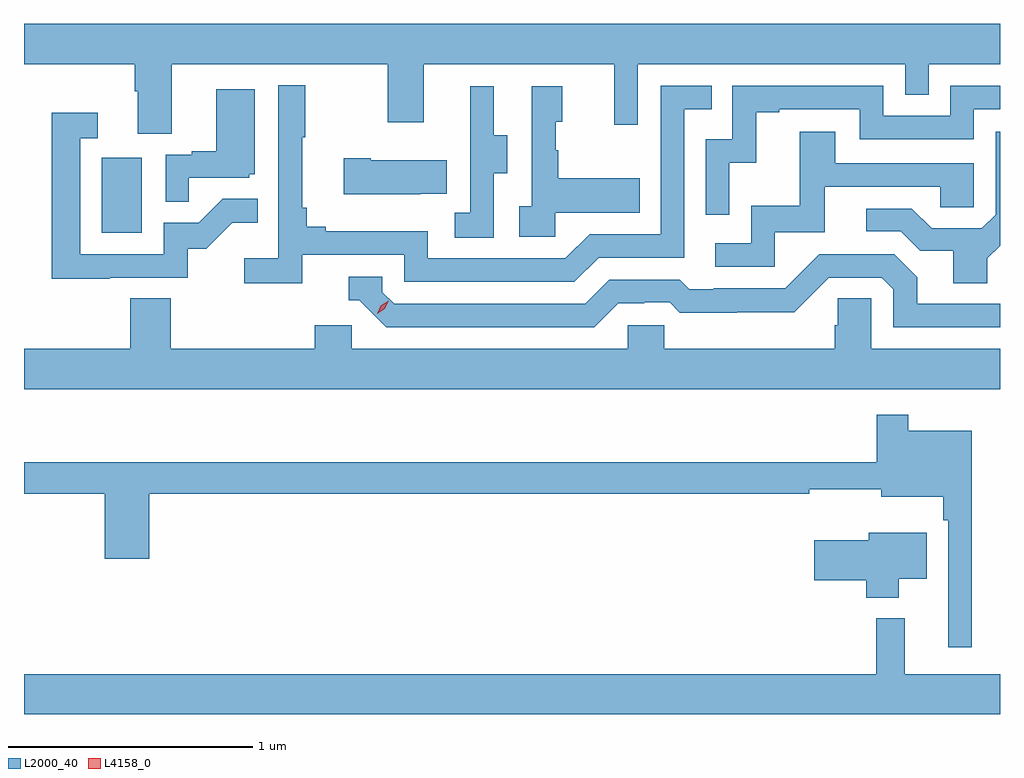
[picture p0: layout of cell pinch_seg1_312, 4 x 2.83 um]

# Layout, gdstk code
import gdstk
lib = gdstk.Library(unit=1e-6, precision=1e-09)
def R(c, l, rs):  # rectangles x0, y0, x1, y1
    for r in rs: c.add(gdstk.rectangle(r[:2], r[2:], *l))
def P(c, l, *ps):  # polygons
    for p in ps: c.add(gdstk.Polygon(p, *l))
L2000_40 = (2000, 40)
L4158_0 = (4158, 0)

pinch_seg1_312 = lib.new_cell('pinch_seg1_312')
R(pinch_seg1_312, L2000_40, [(1008.698,557.7,1008.862,558.007)])
P(pinch_seg1_312, L2000_40, [(1008.985,558.392),(1009.87,558.392),(1009.87,558.153),(1010.017,558.153),(1010.017,558.392),(1010.798,558.392),(1010.798,558.144),(1010.895,558.144),(1010.895,558.392),(1011.99,558.392),(1011.99,558.265),(1012.086,558.265),(1012.086,558.392),(1012.379,558.392),(1012.379,558.556),(1008.379,558.556),(1008.379,558.392),(1008.833,558.392),(1008.833,558.28),(1008.845,558.28),(1008.845,558.106),(1008.985,558.106)],
  [(1009.52,557.61),(1009.938,557.61),(1009.938,557.499),(1010.635,557.499),(1010.734,557.598),(1011.084,557.598),(1011.084,558.207),(1011.197,558.207),(1011.197,558.303),(1010.988,558.303),(1010.988,557.694),(1010.697,557.694),(1010.598,557.595),(1010.034,557.595),(1010.034,557.707),(1009.615,557.707),(1009.615,557.726),(1009.538,557.726),(1009.538,557.803),(1009.519,557.803),(1009.519,558.091),(1009.531,558.091),(1009.531,558.304),(1009.422,558.304),(1009.422,557.596),(1009.281,557.596),(1009.281,557.494),(1009.52,557.494)],
  [(1011.27,557.987),(1011.38,557.987),(1011.38,558.195),(1011.475,558.195),(1011.475,558.207),(1011.804,558.207),(1011.804,558.084),(1012.272,558.084),(1012.272,558.207),(1012.379,558.207),(1012.379,558.303),(1012.176,558.303),(1012.176,558.18),(1011.9,558.18),(1011.9,558.303),(1011.282,558.303),(1011.282,558.084),(1011.174,558.084),(1011.174,557.775),(1011.27,557.775)],
  [(1010.304,557.944),(1010.359,557.944),(1010.359,558.099),(1010.305,558.099),(1010.305,558.301),(1010.207,558.301),(1010.207,558.087),(1010.208,558.087),(1010.208,557.783),(1010.145,557.783),(1010.145,557.68),(1010.304,557.68)],
  [(1010.556,557.783),(1010.903,557.783),(1010.903,557.923),(1010.569,557.923),(1010.569,558.038),(1010.559,558.038),(1010.559,558.156),(1010.584,558.156),(1010.584,558.301),(1010.46,558.301),(1010.46,557.81),(1010.409,557.81),(1010.409,557.685),(1010.556,557.685)],
  [(1009.055,557.925),(1009.302,557.925),(1009.302,557.94),(1009.324,557.94),(1009.324,558.289),(1009.166,558.289),(1009.166,558.034),(1009.067,558.034),(1009.067,558.021),(1008.96,558.021),(1008.96,557.827),(1009.055,557.827)],
  [(1008.731,557.517),(1009.05,557.517),(1009.05,557.634),(1009.126,557.634),(1009.233,557.741),(1009.337,557.741),(1009.337,557.84),(1009.193,557.84),(1009.095,557.742),(1008.951,557.742),(1008.951,557.613),(1008.609,557.613),(1008.609,558.087),(1008.682,558.087),(1008.682,558.193),(1008.493,558.193),(1008.493,557.512),(1008.731,557.512)],
  [(1012.327,557.596),(1012.379,557.648),(1012.379,558.115),(1012.362,558.115),(1012.362,557.775),(1012.305,557.718),(1012.099,557.718),(1012.018,557.799),(1011.831,557.799),(1011.831,557.706),(1011.972,557.706),(1012.052,557.626),(1012.187,557.626),(1012.187,557.494),(1012.327,557.494)],
  [(1011.456,557.703),(1011.661,557.703),(1011.661,557.889),(1012.135,557.889),(1012.135,557.805),(1012.272,557.805),(1012.272,557.985),(1011.703,557.985),(1011.703,558.115),(1011.559,558.115),(1011.559,557.812),(1011.36,557.812),(1011.36,557.658),(1011.213,557.658),(1011.213,557.562),(1011.456,557.562)],
  [(1010.003,557.861),(1010.111,557.861),(1010.111,557.998),(1009.801,557.998),(1009.801,558.006),(1009.689,558.006),(1009.689,557.858),(1010.003,557.858)],
  [(1010.815,557.412),(1010.922,557.412),(1010.922,557.415),(1011.025,557.415),(1011.067,557.373),(1011.3,557.373),(1011.3,557.375),(1011.536,557.375),(1011.678,557.517),(1011.894,557.517),(1011.942,557.469),(1011.942,557.313),(1012.379,557.313),(1012.379,557.409),(1012.039,557.409),(1012.039,557.519),(1011.945,557.613),(1011.639,557.613),(1011.498,557.472),(1011.205,557.472),(1011.205,557.469),(1011.106,557.469),(1011.067,557.508),(1010.778,557.508),(1010.679,557.409),(1009.896,557.409),(1009.848,557.457),(1009.848,557.52),(1009.709,557.52),(1009.709,557.424),(1009.752,557.424),(1009.863,557.313),(1010.716,557.313)],
  [(1012.379,557.224),(1011.852,557.224),(1011.852,557.432),(1011.715,557.432),(1011.715,557.322),(1011.701,557.322),(1011.701,557.224),(1011.003,557.224),(1011.003,557.322),(1010.853,557.322),(1010.853,557.224),(1009.722,557.224),(1009.722,557.322),(1009.571,557.322),(1009.571,557.224),(1008.98,557.224),(1008.98,557.432),(1008.815,557.432),(1008.815,557.224),(1008.379,557.224),(1008.379,557.06),(1012.379,557.06)],
  [(1012.264,556.888),(1012.003,556.888),(1012.003,556.954),(1011.874,556.954),(1011.874,556.759),(1008.379,556.759),(1008.379,556.63),(1008.71,556.63),(1008.71,556.365),(1008.893,556.365),(1008.893,556.63),(1011.597,556.63),(1011.597,556.649),(1011.893,556.649),(1011.893,556.619),(1012.147,556.619),(1012.147,556.523),(1012.167,556.523),(1012.167,556.002),(1012.264,556.002)],
  [(1011.964,556.283),(1012.078,556.283),(1012.078,556.471),(1011.842,556.471),(1011.842,556.441),(1011.618,556.441),(1011.618,556.276),(1011.83,556.276),(1011.83,556.205),(1011.964,556.205)],
  [(1012.379,555.892),(1011.989,555.892),(1011.989,556.12),(1011.871,556.12),(1011.871,555.892),(1008.379,555.892),(1008.379,555.728),(1012.379,555.728)])
P(pinch_seg1_312, L4158_0, [(1009.827,557.369),(1009.827,557.369),(1009.842,557.402),(1009.873,557.422),(1009.873,557.422),(1009.873,557.422),(1009.857,557.389),(1009.827,557.369)])

lib.write_gds('pinch_seg1_312.gds')
